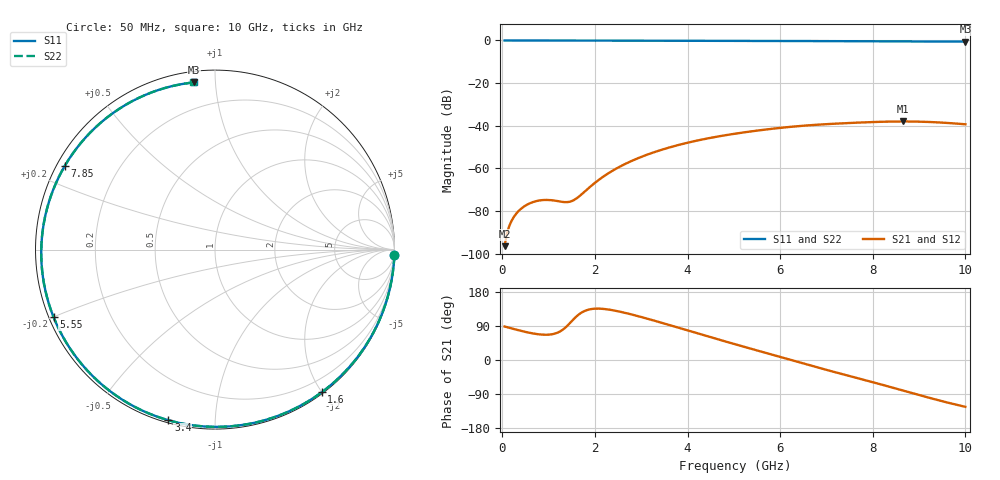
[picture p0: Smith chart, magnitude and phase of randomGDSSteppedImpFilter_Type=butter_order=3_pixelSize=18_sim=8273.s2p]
! freq	dB(S11)	phase(S11)	dB(S12)	phase(S12)
!  dB(S21)	phase(S21)	dB(S22)	phase(S22)
!S-par simulation data
#  GHz  S  DB  R 50
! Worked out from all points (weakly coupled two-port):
!   200 points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, 50 MHz to 10 GHz, reference 50 ohm
!   highest |S21| = -37.98 dB at 8.65 GHz (marker M1); lowest = -96.4 dB at 50 MHz (marker M2)
!   lowest |S11| = -0.5 dB at 10 GHz (marker M3), VSWR 31.82, Z = 2.79 + j44 ohm
!   |S11| at or under -10 dB: nowhere
!   |S22| runs from -0.5 to 0.0 dB; largest |S21 - S12| = 0
!   S11 on the Smith chart (normalised r, x): 50 MHz: 0, -66; 1.6 GHz: 0.02, -2.00; 3.4 GHz: 0.01, -0.76; 5.55 GHz: 0.01, -0.20; 7.85 GHz: 0.02, +0.26; 10 GHz: 0.06, +0.88
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0.05  -0.00 -1.7  -96.45 88.4  -96.45 88.4  -0.00 -1.7
0.35  -0.02 -12.0  -80.01 78.5  -80.01 78.5  -0.02 -12.0
0.55  -0.02 -18.8  -76.82 72.8  -76.82 72.8  -0.02 -18.8
0.8  -0.03 -27.2  -75.03 67.6  -75.03 67.6  -0.03 -27.2
1  -0.04 -33.8  -74.79 66.9  -74.79 66.9  -0.04 -33.8
1.4  -0.06 -46.9  -75.79 89.8  -75.79 89.8  -0.06 -46.8
1.6  -0.07 -53.2  -74.10 114.8  -74.10 114.8  -0.07 -53.2
1.75  -0.07 -57.9  -71.42 127.8  -71.42 127.8  -0.07 -57.9
2.1  -0.08 -68.6  -65.09 135.5  -65.09 135.5  -0.08 -68.6
2.45  -0.09 -79.0  -60.20 129.8  -60.20 129.8  -0.09 -78.9
2.9  -0.11 -91.8  -55.48 116.7  -55.48 116.7  -0.11 -91.7
3.4  -0.13 -105.3  -51.53 99.7  -51.53 99.7  -0.13 -105.2
4.25  -0.16 -126.8  -46.73 69.2  -46.73 69.2  -0.16 -126.8
5.05  -0.20 -145.9  -43.63 40.8  -43.63 40.8  -0.20 -145.8
5.55  -0.22 -157.3  -42.13 23.5  -42.13 23.5  -0.22 -157.3
6.1  -0.25 -169.7  -40.77 4.6  -40.77 4.6  -0.25 -169.7
6.7  -0.29 176.8  -39.65 -16.0  -39.65 -16.0  -0.29 176.9
7.85  -0.37 150.8  -38.37 -53.7  -38.37 -53.7  -0.37 150.8
8.35  -0.41 139.0  -38.05 -70.2  -38.05 -70.2  -0.41 139.1
8.65  -0.43 131.8  -37.98 -80.4  -37.98 -80.4  -0.43 131.9
9.35  -0.49 114.4  -38.35 -104.0  -38.35 -104.0  -0.49 114.5
10  -0.55 97.3  -39.30 -123.6  -39.30 -123.6  -0.55 97.4
